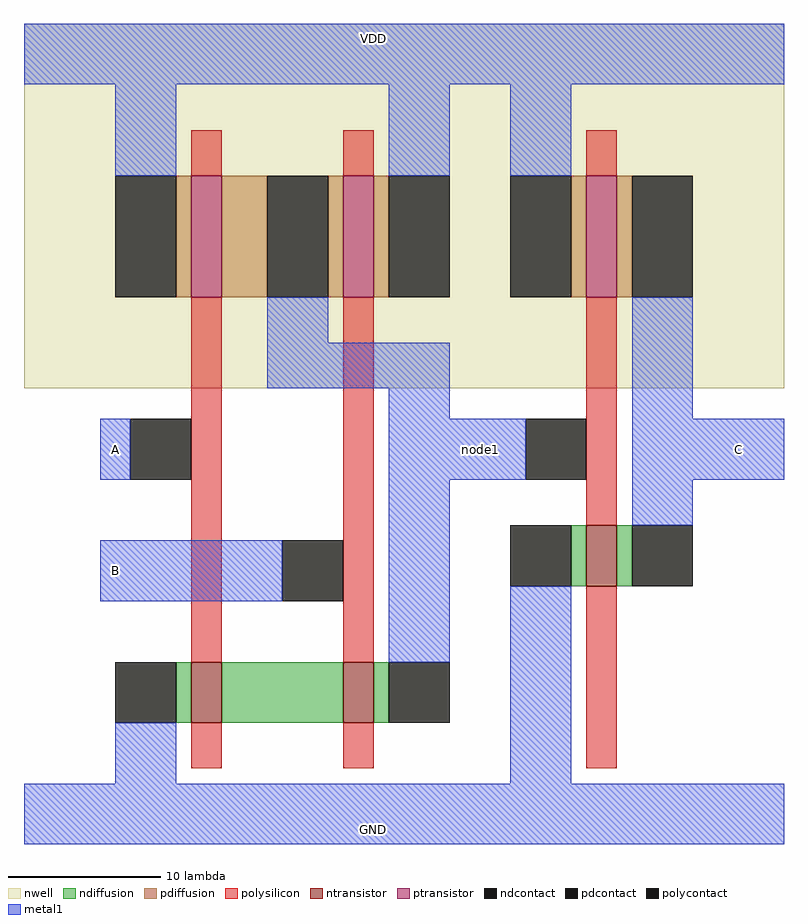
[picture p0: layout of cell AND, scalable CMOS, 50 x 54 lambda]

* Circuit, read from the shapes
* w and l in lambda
.subckt AND A B C GND VDD node1
M1 n1 A GND VSUBS nfet w=4 l=2
M2 node1 B n1 VSUBS nfet w=4 l=2
M3 C node1 GND VSUBS nfet w=4 l=2
M4 node1 A VDD n2 pfet w=8 l=2
M5 VDD B node1 n2 pfet w=8 l=2
M6 C node1 VDD n2 pfet w=8 l=2
.ends

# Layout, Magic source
magic
tech scmos
<< nwell >>
rect -24 -5 26 19
<< ntransistor >>
rect 13 -18 15 -14
rect -13 -27 -11 -23
rect -3 -27 -1 -23
<< ptransistor >>
rect -13 1 -11 9
rect -3 1 -1 9
rect 13 1 15 9
<< ndiffusion >>
rect 12 -18 13 -14
rect 15 -18 16 -14
rect -14 -27 -13 -23
rect -11 -27 -3 -23
rect -1 -27 0 -23
<< pdiffusion >>
rect -14 1 -13 9
rect -11 1 -8 9
rect -4 1 -3 9
rect -1 1 0 9
rect 12 1 13 9
rect 15 1 16 9
<< ndcontact >>
rect 8 -18 12 -14
rect 16 -18 20 -14
rect -18 -27 -14 -23
rect 0 -27 4 -23
<< pdcontact >>
rect -18 1 -14 9
rect -8 1 -4 9
rect 0 1 4 9
rect 8 1 12 9
rect 16 1 20 9
<< polysilicon >>
rect -13 9 -11 12
rect -3 9 -1 12
rect 13 9 15 12
rect -13 -23 -11 1
rect -3 -23 -1 1
rect 13 -14 15 1
rect -13 -30 -11 -27
rect -3 -30 -1 -27
rect 13 -30 15 -18
<< polycontact >>
rect -17 -11 -13 -7
rect -7 -19 -3 -15
rect 9 -11 13 -7
<< metal1 >>
rect -24 15 26 19
rect -18 9 -14 15
rect 0 9 4 15
rect 8 9 12 15
rect -8 -2 -4 1
rect -8 -5 4 -2
rect 0 -7 4 -5
rect 16 -7 20 1
rect -19 -11 -17 -7
rect 0 -11 9 -7
rect 16 -11 26 -7
rect -19 -19 -7 -15
rect 0 -23 4 -11
rect 16 -14 20 -11
rect -18 -31 -14 -27
rect 8 -31 12 -18
rect -24 -35 26 -31
<< labels >>
rlabel metal1 -18 -9 -18 -9 1 A
rlabel metal1 -1 18 -1 18 5 VDD
rlabel metal1 -18 -17 -18 -17 1 B
rlabel metal1 -1 -34 -1 -34 1 GND
rlabel metal1 23 -9 23 -9 7 C
rlabel metal1 6 -9 6 -9 1 node1
<< end >>
